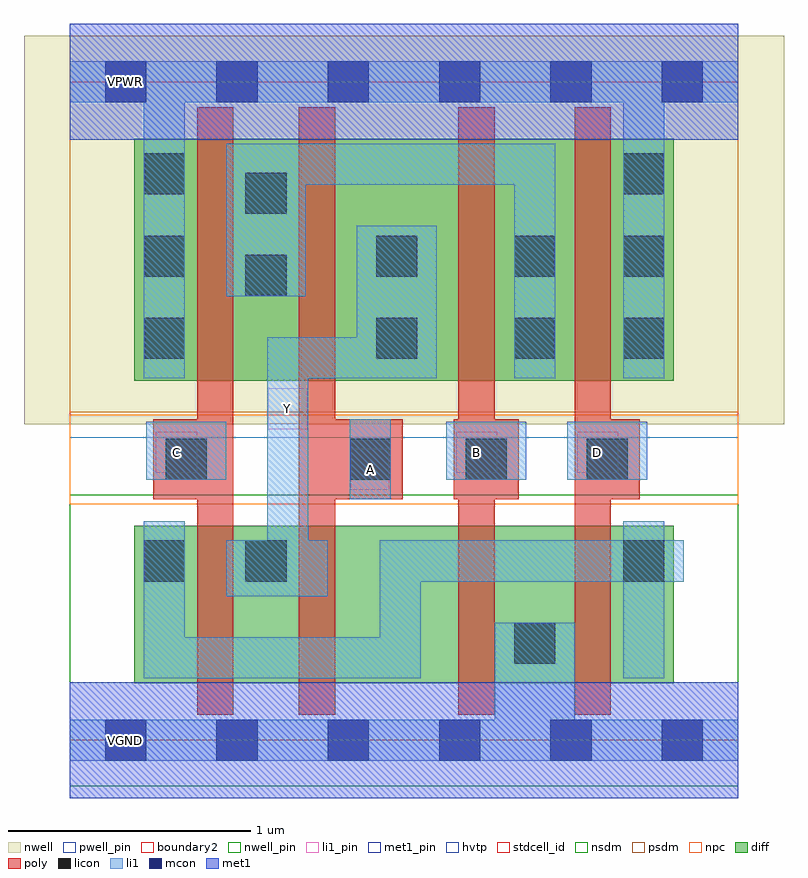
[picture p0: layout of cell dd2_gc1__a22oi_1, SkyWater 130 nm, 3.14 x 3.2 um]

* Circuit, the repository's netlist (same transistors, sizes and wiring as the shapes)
.subckt dd2_gc1__a22oi_1 A B C D VGND VNB VPB VPWR Y
X0 Y A n1 VNB sky130_fd_pr__nfet_01v8 w=0.65 l=0.15
X1 n1 B VGND VNB sky130_fd_pr__nfet_01v8 w=0.65 l=0.15
X2 Y C n2 VNB sky130_fd_pr__nfet_01v8 w=0.65 l=0.15
X3 n2 D VGND VNB sky130_fd_pr__nfet_01v8 w=0.65 l=0.15
X4 Y A p1 VPB sky130_fd_pr__pfet_01v8_hvt w=1 l=0.15
X5 Y B p1 VPB sky130_fd_pr__pfet_01v8_hvt w=1 l=0.15
X6 p1 C VPWR VPB sky130_fd_pr__pfet_01v8_hvt w=1 l=0.15
X7 p1 D VPWR VPB sky130_fd_pr__pfet_01v8_hvt w=1 l=0.15
.ends

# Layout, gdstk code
import gdstk
lib = gdstk.Library(unit=1e-6, precision=1e-09)
def R(c, l, rs):  # rectangles x0, y0, x1, y1
    for r in rs: c.add(gdstk.rectangle(r[:2], r[2:], *l))
def A(c, l, x, y, w, h, nx, ny, dx, dy):  # array of equal rectangles
    R(c, l, [(x+i*dx, y+j*dy, x+i*dx+w, y+j*dy+h) for i in range(nx) for j in range(ny)])
nwell_pin = (64, 16)
nwell = (64, 20)
diff = (65, 20)
poly = (66, 20)
licon = (66, 44)
li1_pin = (67, 16)
li1 = (67, 20)
mcon = (67, 44)
met1_pin = (68, 16)
met1 = (68, 20)
hvtp = (78, 44)
stdcell_id = (81, 4)
nsdm = (93, 44)
psdm = (94, 20)
npc = (95, 20)
pwell_pin = (122, 16)
boundary2 = (236, 0)

dd2_gc1__a22oi_1 = lib.new_cell('dd2_gc1__a22oi_1')
R(dd2_gc1__a22oi_1, nwell_pin, [(0.145,2.635,0.315,2.805)])
R(dd2_gc1__a22oi_1, nwell, [(-0.19,1.305,2.95,2.91)])
R(dd2_gc1__a22oi_1, diff, [(0.265,0.235,2.495,0.885), (0.265,1.485,2.495,2.485)])
R(dd2_gc1__a22oi_1, poly, [(0.525,0.105,0.675,2.615), (0.945,0.105,1.095,2.615), (1.605,0.105,1.755,2.615), (2.085,0.105,2.235,2.615), (0.345,0.995,0.675,1.325), (0.945,0.995,1.375,1.325), (1.585,0.995,1.855,1.325), (2.085,0.995,2.355,1.325)])
A(dd2_gc1__a22oi_1, licon, 0.305, 1.575, 0.17, 0.17, 1, 3, 0, 0.34)
A(dd2_gc1__a22oi_1, licon, 2.285, 1.575, 0.17, 0.17, 1, 3, 0, 0.34)
R(dd2_gc1__a22oi_1, licon, [(1.835,0.315,2.005,0.485), (0.305,0.655,0.475,0.825), (0.725,0.655,0.895,0.825), (2.285,0.655,2.455,0.825), (0.395,1.075,0.565,1.245), (1.155,1.075,1.325,1.245), (1.635,1.075,1.805,1.245), (2.135,1.075,2.305,1.245), (1.265,1.575,1.435,1.745), (1.835,1.575,2.005,1.745), (0.725,1.835,0.895,2.005), (1.265,1.915,1.435,2.085), (1.835,1.915,2.005,2.085), (0.725,2.175,0.895,2.345)])
R(dd2_gc1__a22oi_1, li1_pin, [(1.16,1.035,1.32,1.205), (0.355,1.105,0.525,1.275), (1.595,1.105,1.765,1.275), (2.095,1.105,2.265,1.275), (0.82,1.285,0.98,1.455)])
R(dd2_gc1__a22oi_1, li1, [(0,-0.085,2.76,0.085), (1.755,-0.085,2.085,0.485), (0.305,0.255,0.475,0.905), (0.305,0.255,1.45,0.425), (1.28,0.255,1.45,0.825), (2.285,0.255,2.455,0.905), (0.645,0.595,1.065,0.825), (1.28,0.655,2.535,0.825), (0.815,0.815,0.985,1.505), (1.155,0.995,1.325,1.325), (0.315,1.075,0.645,1.315), (1.555,1.075,1.885,1.315), (2.055,1.075,2.385,1.315), (0.305,1.495,0.475,2.805), (0.815,1.495,1.435,1.665), (1.185,1.495,1.515,2.125), (1.835,1.495,2.005,2.465), (2.285,1.495,2.455,2.805), (0.645,1.835,0.975,2.465), (0.725,2.295,2.005,2.465), (0,2.635,2.76,2.805)])
A(dd2_gc1__a22oi_1, mcon, 0.145, -0.085, 0.17, 0.17, 6, 2, 0.46, 2.72)
R(dd2_gc1__a22oi_1, met1_pin, [(0.145,-0.085,0.315,0.085), (0.145,2.635,0.315,2.805)])
R(dd2_gc1__a22oi_1, met1, [(0,-0.24,2.76,0.24), (0,2.48,2.76,2.96)])
R(dd2_gc1__a22oi_1, hvtp, [(0,1.25,2.76,2.72)])
R(dd2_gc1__a22oi_1, stdcell_id, [(0,0,2.76,2.72)])
R(dd2_gc1__a22oi_1, nsdm, [(0,-0.19,2.76,1.015)])
R(dd2_gc1__a22oi_1, psdm, [(0,1.355,2.76,2.91)])
R(dd2_gc1__a22oi_1, npc, [(0,0.975,2.76,1.345)])
R(dd2_gc1__a22oi_1, pwell_pin, [(0.145,-0.085,0.315,0.085)])
R(dd2_gc1__a22oi_1, boundary2, [(0,0,2.76,2.72)])
dd2_gc1__a22oi_1.add(gdstk.Label('C', (0.44,1.19), layer=67, texttype=5))
dd2_gc1__a22oi_1.add(gdstk.Label('A', (1.24,1.12), layer=67, texttype=5))
dd2_gc1__a22oi_1.add(gdstk.Label('B', (1.68,1.19), layer=67, texttype=5))
dd2_gc1__a22oi_1.add(gdstk.Label('D', (2.18,1.19), layer=67, texttype=5))
dd2_gc1__a22oi_1.add(gdstk.Label('Y', (0.9,1.37), layer=67, texttype=5))
dd2_gc1__a22oi_1.add(gdstk.Label('VGND', (0.23,0), layer=68, texttype=5))
dd2_gc1__a22oi_1.add(gdstk.Label('VPWR', (0.23,2.72), layer=68, texttype=5))
dd2_gc1__a22oi_1.add(gdstk.Label('VPB', (0.23,2.72), layer=64, texttype=5))
dd2_gc1__a22oi_1.add(gdstk.Label('VNB', (0.23,0), layer=64, texttype=59))

lib.write_gds('dd2_gc1__a22oi_1.gds')
